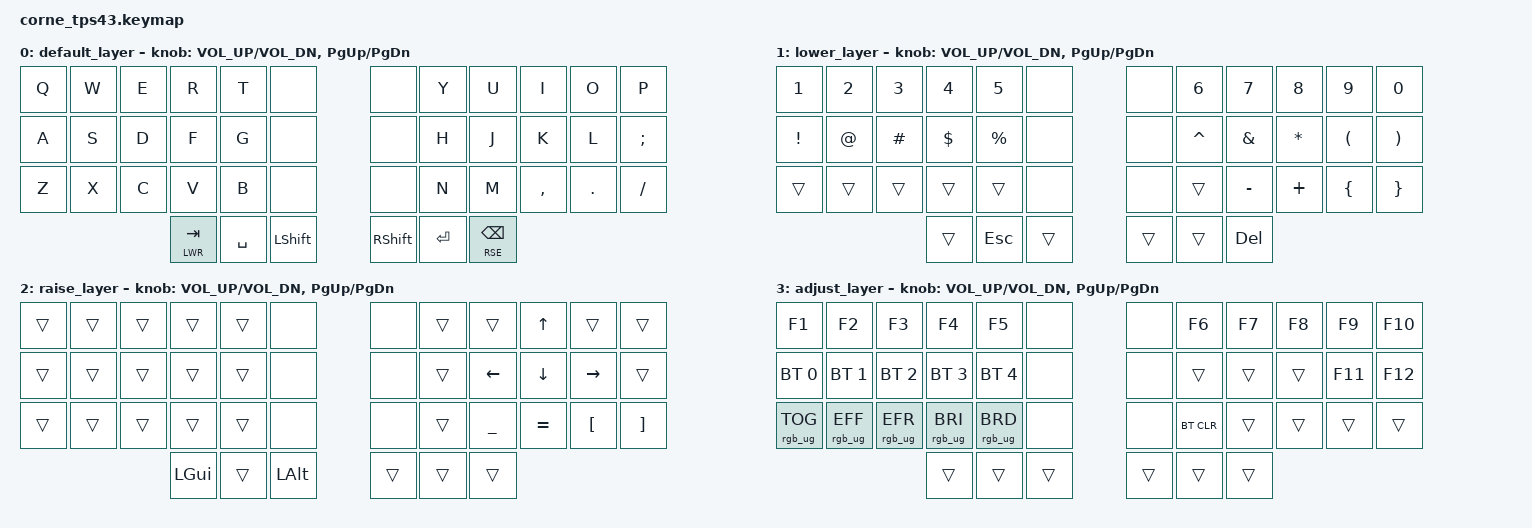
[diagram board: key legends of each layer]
/*
 * Copyright (c) 2025 The ZMK Contributors
 *
 * SPDX-License-Identifier: MIT
 */

#include <behaviors.dtsi>
#include <dt-bindings/zmk/keys.h>
#include <dt-bindings/zmk/bt.h>
#include <dt-bindings/zmk/rgb.h>

#define DEF 0
#define LWR 1
#define RSE 2
#define ADJ 3

&lt {
    tapping-term-ms = <200>;
};

&mt {
    tapping-term-ms = <200>;
};

/ {
    conditional_layers {
        compatible = "zmk,conditional-layers";
        tri_layer {
            if-layers = <LWR RSE>;
            then-layer = <ADJ>;
        };
    };

    keymap {
        compatible = "zmk,keymap";

        default_layer {
            bindings = <
        //╭──────────┬──────────┬──────────┬──────────┬──────────┬──────────╮   ╭──────────┬──────────┬──────────┬──────────┬──────────┬──────────╮
        //│  Q       │  W       │  E       │  R       │  T       │          │   │          │  Y       │  U       │  I       │  O       │  P       │
            &kp Q      &kp W      &kp E      &kp R      &kp T      &none          &none      &kp Y      &kp U      &kp I      &kp O      &kp P
        //├──────────┼──────────┼──────────┼──────────┼──────────┼──────────┤   ├──────────┼──────────┼──────────┼──────────┼──────────┼──────────┤
        //│  A       │  S       │  D       │  F       │  G       │          │   │          │  H       │  J       │  K       │  L       │ ; :      │
            &kp A      &kp S      &kp D      &kp F      &kp G      &none          &none      &kp H      &kp J      &kp K      &kp L      &kp SEMI
        //├──────────┼──────────┼──────────┼──────────┼──────────┼──────────┤   ├──────────┼──────────┼──────────┼──────────┼──────────┼──────────┤
        //│  Z       │  X       │  C       │  V       │  B       │          │   │          │  N       │  M       │ , <      │ . >      │ / ?      │
            &kp Z      &kp X      &kp C      &kp V      &kp B      &none          &none      &kp N      &kp M      &kp COMMA  &kp DOT    &kp FSLH
        //╰──────────┴──────────┴──────────┼──────────┼──────────┼──────────┤   ├──────────┼──────────┼──────────┼──────────┴──────────┴──────────╯
                                            &lt LWR TAB &kp SPACE  &kp LSHIFT     &kp RSHIFT &kp ENTER  &lt RSE BSPC
        //                                 ╰──────────┴──────────┴──────────╯   ╰──────────┴──────────┴──────────╯
            >;

            sensor-bindings = <&inc_dec_kp C_VOL_UP C_VOL_DN &inc_dec_kp PG_UP PG_DN>;
        };

        lower_layer {
            bindings = <
        //╭──────────┬──────────┬──────────┬──────────┬──────────┬──────────╮   ╭──────────┬──────────┬──────────┬──────────┬──────────┬──────────╮
        //│ 1        │ 2        │ 3        │ 4        │ 5        │          │   │          │ 6        │ 7        │ 8        │ 9        │ 0        │
            &kp N1     &kp N2     &kp N3     &kp N4     &kp N5     &none          &none      &kp N6     &kp N7     &kp N8     &kp N9     &kp N0
        //├──────────┼──────────┼──────────┼──────────┼──────────┼──────────┤   ├──────────┼──────────┼──────────┼──────────┼──────────┼──────────┤
        //│ !        │ @        │ #        │ $        │ %        │          │   │          │ ^        │ &        │ *        │ (        │ )        │
            &kp EXCL   &kp AT     &kp HASH   &kp DLLR   &kp PRCNT  &none          &none      &kp CARET  &kp AMPS   &kp ASTRK  &kp LPAR   &kp RPAR
        //├──────────┼──────────┼──────────┼──────────┼──────────┼──────────┤   ├──────────┼──────────┼──────────┼──────────┼──────────┼──────────┤
        //│          │          │          │          │          │          │   │          │          │ _        │ +        │ {        │ }        │
            &trans     &trans     &trans     &trans     &trans     &none          &none      &trans     &kp MINUS  &kp PLUS   &kp LBRC   &kp RBRC
        //╰──────────┴──────────┴──────────┼──────────┼──────────┼──────────┤   ├──────────┼──────────┼──────────┼──────────┴──────────┴──────────╯
                                            &trans     &kp ESC    &trans         &trans     &trans     &kp DEL
        //                                 ╰──────────┴──────────┴──────────╯   ╰──────────┴──────────┴──────────╯
            >;

            sensor-bindings = <&inc_dec_kp C_VOL_UP C_VOL_DN &inc_dec_kp PG_UP PG_DN>;
        };

        raise_layer {
            bindings = <
        //╭──────────┬──────────┬──────────┬──────────┬──────────┬──────────╮   ╭──────────┬──────────┬──────────┬──────────┬──────────┬──────────╮
        //│          │          │          │          │          │          │   │          │          │          │          │          │          │
            &trans     &trans     &trans     &trans     &trans     &none          &none      &trans     &trans     &kp UP     &trans     &trans
        //├──────────┼──────────┼──────────┼──────────┼──────────┼──────────┤   ├──────────┼──────────┼──────────┼──────────┼──────────┼──────────┤
        //│          │          │          │          │          │          │   │          │          │          │          │          │          │
            &trans     &trans     &trans     &trans     &trans     &none          &none      &trans     &kp LEFT   &kp DOWN   &kp RIGHT  &trans
        //├──────────┼──────────┼──────────┼──────────┼──────────┼──────────┤   ├──────────┼──────────┼──────────┼──────────┼──────────┼──────────┤
        //│          │          │          │          │          │          │   │          │          │ -        │ =        │ [        │ ]        │
            &trans     &trans     &trans     &trans     &trans     &none          &none      &trans     &kp UNDER  &kp EQUAL  &kp LBKT   &kp RBKT
        //╰──────────┴──────────┴──────────┼──────────┼──────────┼──────────┤   ├──────────┼──────────┼──────────┼──────────┴──────────┴──────────╯
                                            &kp LGUI   &trans     &kp LALT       &trans     &trans     &trans
        //                                 ╰──────────┴──────────┴──────────╯   ╰──────────┴──────────┴──────────╯
            >;

            sensor-bindings = <&inc_dec_kp C_VOL_UP C_VOL_DN &inc_dec_kp PG_UP PG_DN>;
        };

        adjust_layer {
            bindings = <
        //╭──────────┬──────────┬──────────┬──────────┬──────────┬──────────╮   ╭──────────┬──────────┬──────────┬──────────┬──────────┬──────────╮
        //│ F1       │ F2       │ F3       │ F4       │ F5       │          │   │          │ F6       │ F7       │ F8       │ F9       │ F10      │
            &kp F1     &kp F2     &kp F3     &kp F4     &kp F5     &none          &none      &kp F6     &kp F7     &kp F8     &kp F9     &kp F10
        //├──────────┼──────────┼──────────┼──────────┼──────────┼──────────┤   ├──────────┼──────────┼──────────┼──────────┼──────────┼──────────┤
        //│ BT1      │ BT2      │ BT3      │ BT4      │ BT5      │          │   │          │          │          │          │ F11      │ F12      │
       &bt BT_SEL 0 &bt BT_SEL 1 &bt BT_SEL 2 &bt BT_SEL 3 &bt BT_SEL 4 &none          &none      &trans     &trans     &trans     &kp F11    &kp F12
        //├──────────┼──────────┼──────────┼──────────┼──────────┼──────────┤   ├──────────┼──────────┼──────────┼──────────┼──────────┼──────────┤
        //│ RGB TOG  │ RGB EFF+ │ RGB EFF- │ RGB BRI+ │ RGB BRI- │          │   │          │ BT CLR   │          │          │          │          │
        &rgb_ug RGB_TOG &rgb_ug RGB_EFF &rgb_ug RGB_EFR &rgb_ug RGB_BRI &rgb_ug RGB_BRD &none &none &bt BT_CLR &trans &trans &trans &trans
        //╰──────────┴──────────┴──────────┼──────────┼──────────┼──────────┤   ├──────────┼──────────┼──────────┼──────────┴──────────┴──────────╯
                                            &trans     &trans     &trans         &trans     &trans     &trans
        //                                 ╰──────────┴──────────┴──────────╯   ╰──────────┴──────────┴──────────╯
            >;

            sensor-bindings = <&inc_dec_kp C_VOL_UP C_VOL_DN &inc_dec_kp PG_UP PG_DN>;
        };
    };
}; 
